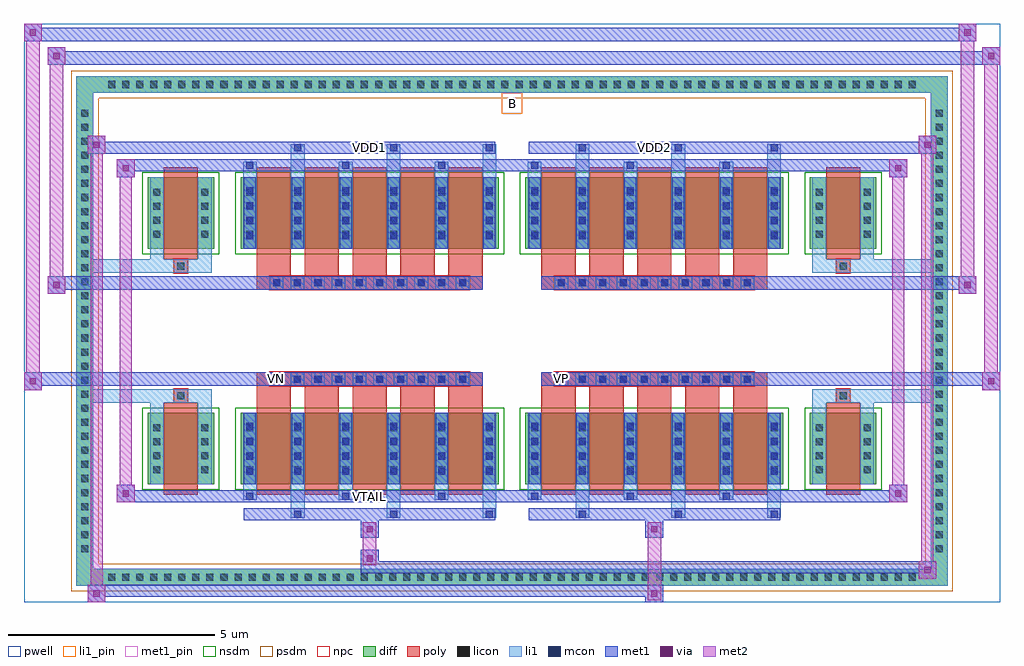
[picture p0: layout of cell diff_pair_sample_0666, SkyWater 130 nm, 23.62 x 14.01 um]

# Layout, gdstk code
import gdstk
lib = gdstk.Library(unit=1e-6, precision=5e-09)
def R(c, l, rs):  # rectangles x0, y0, x1, y1
    for r in rs: c.add(gdstk.rectangle(r[:2], r[2:], *l))
def A(c, l, x, y, w, h, nx, ny, dx, dy):  # array of equal rectangles
    R(c, l, [(x+i*dx, y+j*dy, x+i*dx+w, y+j*dy+h) for i in range(nx) for j in range(ny)])
def P(c, l, *ps):  # polygons
    for p in ps: c.add(gdstk.Polygon(p, *l))
pwell = (64, 44)
diff = (65, 20)
poly = (66, 20)
licon = (66, 44)
li1_pin = (67, 16)
li1 = (67, 20)
mcon = (67, 44)
met1_pin = (68, 16)
met1 = (68, 20)
via = (68, 44)
met2 = (69, 20)
nsdm = (93, 44)
psdm = (94, 20)
npc = (95, 20)

diff_pair_sample_0666 = lib.new_cell('diff_pair_sample_0666')
R(diff_pair_sample_0666, pwell, [(-11.81,-6.57,11.81,7.44), (-9.13,-4.76,-0.01,-0.8), (0.01,-4.76,9.13,-0.8), (-9.13,0.8,-0.01,4.76), (0.01,0.8,9.13,4.76)])
A(diff_pair_sample_0666, diff, -9.895, -6.17, 0.41, 0.41, 58, 2, 0.34, 11.93)
A(diff_pair_sample_0666, diff, -10.54, -5.475, 0.41, 0.41, 1, 32, 0, 0.34)
A(diff_pair_sample_0666, diff, 10.13, -5.475, 0.41, 0.41, 1, 32, 0, 0.34)
R(diff_pair_sample_0666, diff, [(-9.895,-6.17,9.895,-5.76), (-10.54,-5.475,-10.13,5.475), (10.13,-5.475,10.54,5.475), (-8.82,-3.715,-7.21,-1.985), (-6.57,-3.715,-0.32,-1.985), (0.32,-3.715,6.57,-1.985), (7.21,-3.715,8.82,-1.985), (-8.82,1.985,-7.21,3.715), (-6.57,1.985,-0.32,3.715), (0.32,1.985,6.57,3.715), (7.21,1.985,8.82,3.715), (-9.895,5.76,9.895,6.17)])
P(diff_pair_sample_0666, diff, [(10.54,6.17),(-10.54,6.17),(-10.54,-5.76),(-10.13,-5.76),(-10.13,5.76),(10.13,5.76),(10.13,-5.76),(-10.13,-5.76),(-10.54,-5.76),(-10.54,-6.17),(10.54,-6.17)])
A(diff_pair_sample_0666, poly, -6.18, -3.965, 0.83, 2.23, 5, 2, 1.16, 5.7)
A(diff_pair_sample_0666, poly, 0.71, -3.965, 0.83, 2.23, 5, 2, 1.16, 5.7)
A(diff_pair_sample_0666, poly, -6.18, -1.735, 0.83, 0.405, 5, 2, 1.16, 3.065)
A(diff_pair_sample_0666, poly, 0.71, -1.735, 0.83, 0.405, 5, 2, 1.16, 3.065)
A(diff_pair_sample_0666, poly, -5.86, -1.33, 0.33, 0.33, 10, 2, 0.5, 2.33)
A(diff_pair_sample_0666, poly, 1.03, -1.33, 0.33, 0.33, 10, 2, 0.5, 2.33)
R(diff_pair_sample_0666, poly, [(-8.43,-3.965,-7.6,-1.735), (7.6,-3.965,8.43,-1.735), (-8.18,-1.735,-7.85,-1.405), (-8.18,-1.735,-7.85,-1.405), (7.85,-1.735,8.18,-1.405), (7.85,-1.735,8.18,-1.405), (-6.18,-1.33,-0.71,-1), (0.71,-1.33,6.18,-1), (-6.18,1,-0.71,1.33), (0.71,1,6.18,1.33), (-8.18,1.405,-7.85,1.735), (-8.18,1.405,-7.85,1.735), (7.85,1.405,8.18,1.735), (7.85,1.405,8.18,1.735), (-8.43,1.735,-7.6,3.965), (7.6,1.735,8.43,3.965)])
A(diff_pair_sample_0666, licon, -9.775, -6.05, 0.17, 0.17, 58, 2, 0.34, 11.93)
A(diff_pair_sample_0666, licon, -10.42, -5.355, 0.17, 0.17, 1, 32, 0, 0.34)
A(diff_pair_sample_0666, licon, 10.25, -5.355, 0.17, 0.17, 1, 32, 0, 0.34)
A(diff_pair_sample_0666, licon, -8.68, -3.445, 0.17, 0.17, 1, 4, 0, 0.34)
A(diff_pair_sample_0666, licon, -7.52, -3.445, 0.17, 0.17, 1, 4, 0, 0.34)
A(diff_pair_sample_0666, licon, -6.43, -3.445, 0.17, 0.17, 6, 4, 1.16, 0.34)
A(diff_pair_sample_0666, licon, 0.46, -3.445, 0.17, 0.17, 6, 4, 1.16, 0.34)
A(diff_pair_sample_0666, licon, 7.35, -3.445, 0.17, 0.17, 1, 4, 0, 0.34)
A(diff_pair_sample_0666, licon, 8.51, -3.445, 0.17, 0.17, 1, 4, 0, 0.34)
A(diff_pair_sample_0666, licon, -5.78, -1.25, 0.17, 0.17, 10, 2, 0.5, 2.33)
A(diff_pair_sample_0666, licon, 1.11, -1.25, 0.17, 0.17, 10, 2, 0.5, 2.33)
A(diff_pair_sample_0666, licon, -8.68, 2.255, 0.17, 0.17, 1, 4, 0, 0.34)
A(diff_pair_sample_0666, licon, -7.52, 2.255, 0.17, 0.17, 1, 4, 0, 0.34)
A(diff_pair_sample_0666, licon, -6.43, 2.255, 0.17, 0.17, 6, 4, 1.16, 0.34)
A(diff_pair_sample_0666, licon, 0.46, 2.255, 0.17, 0.17, 6, 4, 1.16, 0.34)
A(diff_pair_sample_0666, licon, 7.35, 2.255, 0.17, 0.17, 1, 4, 0, 0.34)
A(diff_pair_sample_0666, licon, 8.51, 2.255, 0.17, 0.17, 1, 4, 0, 0.34)
R(diff_pair_sample_0666, licon, [(-8.1,-1.655,-7.93,-1.485), (7.93,-1.655,8.1,-1.485), (-8.1,1.485,-7.93,1.655), (7.93,1.485,8.1,1.655)])
R(diff_pair_sample_0666, li1_pin, [(-0.25,5.26,0.25,5.76)])
A(diff_pair_sample_0666, li1, -9.855, -6.13, 0.33, 0.33, 58, 2, 0.34, 11.93)
A(diff_pair_sample_0666, li1, -10.5, -5.435, 0.33, 0.33, 1, 32, 0, 0.34)
A(diff_pair_sample_0666, li1, 10.17, -5.435, 0.33, 0.33, 1, 32, 0, 0.34)
A(diff_pair_sample_0666, li1, -5.35, -4.52, 0.33, 0.805, 3, 2, 2.32, 8.235)
A(diff_pair_sample_0666, li1, -5.27, -4.52, 0.17, 0.17, 3, 2, 2.32, 8.87)
A(diff_pair_sample_0666, li1, 1.54, -4.52, 0.33, 0.805, 3, 2, 2.32, 8.235)
A(diff_pair_sample_0666, li1, 1.62, -4.52, 0.17, 0.17, 3, 2, 2.32, 8.87)
A(diff_pair_sample_0666, li1, -6.51, -4.09, 0.33, 0.375, 3, 2, 2.32, 7.805)
A(diff_pair_sample_0666, li1, -6.43, -4.09, 0.17, 0.17, 3, 2, 2.32, 8.01)
A(diff_pair_sample_0666, li1, 0.38, -4.09, 0.33, 0.375, 3, 2, 2.32, 7.805)
A(diff_pair_sample_0666, li1, 0.46, -4.09, 0.17, 0.17, 3, 2, 2.32, 8.01)
A(diff_pair_sample_0666, li1, -6.51, -3.715, 0.33, 1.73, 6, 2, 1.16, 5.7)
A(diff_pair_sample_0666, li1, 0.38, -3.715, 0.33, 1.73, 6, 2, 1.16, 5.7)
A(diff_pair_sample_0666, li1, -8.76, -3.525, 0.33, 0.33, 1, 4, 0, 0.34)
A(diff_pair_sample_0666, li1, -7.6, -3.525, 0.33, 0.33, 1, 4, 0, 0.34)
A(diff_pair_sample_0666, li1, -6.51, -3.525, 0.33, 0.33, 6, 4, 1.16, 0.34)
A(diff_pair_sample_0666, li1, 0.38, -3.525, 0.33, 0.33, 6, 4, 1.16, 0.34)
A(diff_pair_sample_0666, li1, 7.27, -3.525, 0.33, 0.33, 1, 4, 0, 0.34)
A(diff_pair_sample_0666, li1, 8.43, -3.525, 0.33, 0.33, 1, 4, 0, 0.34)
A(diff_pair_sample_0666, li1, -6.43, -3.475, 0.17, 0.17, 6, 4, 1.16, 0.36)
A(diff_pair_sample_0666, li1, -6.43, -3.475, 0.17, 1.25, 6, 2, 1.16, 5.7)
A(diff_pair_sample_0666, li1, 0.46, -3.475, 0.17, 0.17, 6, 4, 1.16, 0.36)
A(diff_pair_sample_0666, li1, 0.46, -3.475, 0.17, 1.25, 6, 2, 1.16, 5.7)
A(diff_pair_sample_0666, li1, -5.86, -1.33, 0.33, 0.33, 10, 2, 0.5, 2.33)
A(diff_pair_sample_0666, li1, 1.03, -1.33, 0.33, 0.33, 10, 2, 0.5, 2.33)
A(diff_pair_sample_0666, li1, -8.76, 2.175, 0.33, 0.33, 1, 4, 0, 0.34)
A(diff_pair_sample_0666, li1, -7.6, 2.175, 0.33, 0.33, 1, 4, 0, 0.34)
A(diff_pair_sample_0666, li1, -6.51, 2.175, 0.33, 0.33, 6, 4, 1.16, 0.34)
A(diff_pair_sample_0666, li1, 0.38, 2.175, 0.33, 0.33, 6, 4, 1.16, 0.34)
A(diff_pair_sample_0666, li1, 7.27, 2.175, 0.33, 0.33, 1, 4, 0, 0.34)
A(diff_pair_sample_0666, li1, 8.43, 2.175, 0.33, 0.33, 1, 4, 0, 0.34)
A(diff_pair_sample_0666, li1, -6.43, 2.225, 0.17, 0.17, 6, 4, 1.16, 0.36)
A(diff_pair_sample_0666, li1, 0.46, 2.225, 0.17, 0.17, 6, 4, 1.16, 0.36)
R(diff_pair_sample_0666, li1, [(-10.54,-6.17,-10.13,-5.76), (-10.54,-6.17,-10.13,-5.76), (-10.13,-6.17,10.13,-5.76), (10.13,-6.17,10.54,-5.76), (10.13,-6.17,10.54,-5.76), (-10.54,-5.76,-10.13,5.76), (10.13,-5.76,10.54,5.76), (-8.76,-3.715,-8.43,-1.985), (-7.6,-3.715,-7.27,-1.985), (7.27,-3.715,7.6,-1.985), (8.43,-3.715,8.76,-1.985), (-8.76,-1.985,-8.43,-1.405), (-7.6,-1.985,-7.27,-1.405), (7.27,-1.985,7.6,-1.405), (8.43,-1.985,8.76,-1.405), (-10.54,-1.735,-8.18,-1.405), (-8.76,-1.735,-8.18,-1.405), (-8.18,-1.735,-7.85,-1.405), (-7.85,-1.735,-7.27,-1.405), (7.27,-1.735,7.85,-1.405), (7.85,-1.735,8.18,-1.405), (7.85,-1.735,10.54,-1.405), (8.18,-1.735,8.76,-1.405), (-10.54,1.405,-8.18,1.735), (-8.76,1.405,-8.18,1.735), (-8.76,1.405,-8.43,1.985), (-8.18,1.405,-7.85,1.735), (-7.85,1.405,-7.27,1.735), (-7.6,1.405,-7.27,1.985), (7.27,1.405,7.85,1.735), (7.27,1.405,7.6,1.985), (7.85,1.405,8.18,1.735), (7.85,1.405,10.54,1.735), (8.18,1.405,8.76,1.735), (8.43,1.405,8.76,1.985), (-8.76,1.985,-8.43,3.715), (-7.6,1.985,-7.27,3.715), (7.27,1.985,7.6,3.715), (8.43,1.985,8.76,3.715), (-10.54,5.76,-10.13,6.17), (-10.54,5.76,-10.13,6.17), (-10.13,5.76,10.13,6.17), (10.13,5.76,10.54,6.17), (10.13,5.76,10.54,6.17)])
A(diff_pair_sample_0666, mcon, -5.27, -4.52, 0.17, 0.17, 3, 2, 2.32, 8.87)
A(diff_pair_sample_0666, mcon, 1.62, -4.52, 0.17, 0.17, 3, 2, 2.32, 8.87)
A(diff_pair_sample_0666, mcon, -6.43, -4.09, 0.17, 0.17, 3, 2, 2.32, 8.01)
A(diff_pair_sample_0666, mcon, 0.46, -4.09, 0.17, 0.17, 3, 2, 2.32, 8.01)
A(diff_pair_sample_0666, mcon, -6.43, -3.475, 0.17, 0.17, 6, 4, 1.16, 0.36)
A(diff_pair_sample_0666, mcon, 0.46, -3.475, 0.17, 0.17, 6, 4, 1.16, 0.36)
A(diff_pair_sample_0666, mcon, -5.78, -1.25, 0.17, 0.17, 10, 2, 0.5, 2.33)
A(diff_pair_sample_0666, mcon, 1.11, -1.25, 0.17, 0.17, 10, 2, 0.5, 2.33)
A(diff_pair_sample_0666, mcon, -6.43, 2.225, 0.17, 0.17, 6, 4, 1.16, 0.36)
A(diff_pair_sample_0666, mcon, 0.46, 2.225, 0.17, 0.17, 6, 4, 1.16, 0.36)
R(diff_pair_sample_0666, met1_pin, [(-3.58,-4.13,-3.31,-3.86), (-5.83,-1.29,-5.56,-1.02), (1.06,-1.29,1.33,-1.02), (-3.58,4.31,-3.31,4.58), (3.31,4.31,3.58,4.58)])
A(diff_pair_sample_0666, met1, -5.33, -4.58, 0.29, 0.29, 3, 2, 2.32, 8.87)
A(diff_pair_sample_0666, met1, 1.56, -4.58, 0.29, 0.29, 3, 2, 2.32, 8.87)
A(diff_pair_sample_0666, met1, -6.49, -4.15, 0.29, 0.29, 3, 2, 2.32, 8.01)
A(diff_pair_sample_0666, met1, 0.4, -4.15, 0.29, 0.29, 3, 2, 2.32, 8.01)
A(diff_pair_sample_0666, met1, -6.49, -3.715, 0.29, 1.73, 6, 2, 1.16, 5.7)
A(diff_pair_sample_0666, met1, 0.4, -3.715, 0.29, 1.73, 6, 2, 1.16, 5.7)
A(diff_pair_sample_0666, met1, -6.49, -3.535, 0.29, 0.29, 6, 4, 1.16, 0.36)
A(diff_pair_sample_0666, met1, 0.4, -3.535, 0.29, 0.29, 6, 4, 1.16, 0.36)
A(diff_pair_sample_0666, met1, -5.84, -1.31, 0.29, 0.29, 10, 2, 0.5, 2.33)
A(diff_pair_sample_0666, met1, 1.05, -1.31, 0.29, 0.29, 10, 2, 0.5, 2.33)
A(diff_pair_sample_0666, met1, -6.49, 2.165, 0.29, 0.29, 6, 4, 1.16, 0.36)
A(diff_pair_sample_0666, met1, 0.4, 2.165, 0.29, 0.29, 6, 4, 1.16, 0.36)
R(diff_pair_sample_0666, met1, [(-10.27,-6.57,-9.84,-6.14), (3.23,-6.57,3.66,-6.14), (-10.27,-6.43,3.66,-6.14), (9.84,-6,10.27,-5.57), (-3.66,-5.86,10.27,-5.57), (-3.66,-5.72,-3.23,-5.29), (-3.66,-5.01,-3.23,-4.58), (3.23,-5.01,3.66,-4.58), (-6.49,-4.58,-0.4,-4.29), (0.4,-4.58,6.49,-4.29), (-9.56,-4.15,-9.13,-3.72), (-9.56,-4.15,-6.49,-3.86), (-6.49,-4.15,-0.4,-3.86), (-0.4,-4.15,0.4,-3.86), (0.4,-4.15,6.49,-3.86), (6.49,-4.15,9.56,-3.86), (9.13,-4.15,9.56,-3.72), (-11.81,-1.43,-11.38,-1), (11.38,-1.43,11.81,-1), (-11.81,-1.33,-0.71,-1), (-6.18,-1.33,-0.71,-1), (0.71,-1.33,6.18,-1), (0.71,-1.33,11.81,-1), (-11.24,0.9,-10.81,1.33), (10.81,0.9,11.24,1.33), (-11.24,1,-6.18,1.33), (-6.18,1,-0.71,1.33), (0.71,1,6.18,1.33), (6.18,1,11.24,1.33), (-9.56,3.72,-9.13,4.15), (9.13,3.72,9.56,4.15), (-9.56,3.86,-6.49,4.15), (-6.49,3.86,-0.4,4.15), (-0.4,3.86,0.4,4.15), (0.4,3.86,6.49,4.15), (6.49,3.86,9.56,4.15), (-10.27,4.29,-9.84,4.72), (-10.27,4.29,-6.49,4.58), (-6.49,4.29,-0.4,4.58), (0.4,4.29,6.49,4.58), (6.49,4.29,10.27,4.58), (9.84,4.29,10.27,4.72), (-11.24,6.44,-10.81,6.87), (-11.24,6.44,-9.13,6.77), (-9.13,6.44,9.13,6.77), (9.13,6.44,11.81,6.77), (11.38,6.44,11.81,6.87), (-11.81,7.01,-11.38,7.44), (-11.81,7.01,-9.13,7.34), (-9.13,7.01,9.13,7.34), (9.13,7.01,11.24,7.34), (10.81,7.01,11.24,7.44)])
R(diff_pair_sample_0666, via, [(-10.13,-6.43,-9.98,-6.28), (3.37,-6.43,3.52,-6.28), (9.98,-5.86,10.13,-5.71), (-3.52,-5.58,-3.37,-5.43), (-3.52,-4.87,-3.37,-4.72), (3.37,-4.87,3.52,-4.72), (-9.42,-4.01,-9.27,-3.86), (9.27,-4.01,9.42,-3.86), (-11.67,-1.29,-11.52,-1.14), (11.52,-1.29,11.67,-1.14), (-11.1,1.04,-10.95,1.19), (10.95,1.04,11.1,1.19), (-9.42,3.86,-9.27,4.01), (9.27,3.86,9.42,4.01), (-10.13,4.43,-9.98,4.58), (9.98,4.43,10.13,4.58), (-11.1,6.58,-10.95,6.73), (11.52,6.58,11.67,6.73), (-11.67,7.15,-11.52,7.3), (10.95,7.15,11.1,7.3)])
R(diff_pair_sample_0666, met2, [(-10.27,-6.57,-9.84,-6.14), (-10.2,-6.57,-9.91,4.72), (-9.91,-6.57,-9.84,-6.14), (-10.22,-6.52,-9.89,-6.19), (3.28,-6.52,3.61,-6.19), (3.28,-6.19,3.61,-4.96), (9.84,-6,10.27,-5.57), (9.91,-6,10.2,4.72), (10.2,-6,10.27,-5.57), (9.89,-5.95,10.22,-5.62), (-3.61,-5.67,-3.28,-5.34), (-3.61,-5.34,-3.28,-4.96), (-3.61,-4.96,-3.28,-4.63), (3.28,-4.96,3.61,-4.63), (-9.56,-4.15,-9.13,-3.72), (-9.49,-4.15,-9.2,4.15), (-9.2,-4.15,-9.13,-3.72), (9.13,-4.15,9.56,-3.72), (9.2,-4.15,9.49,4.15), (9.49,-4.15,9.56,-3.72), (-9.51,-4.1,-9.18,-3.77), (9.18,-4.1,9.51,-3.77), (-11.81,-1.43,-11.38,-1), (-11.76,-1.43,-11.43,7.44), (-11.43,-1.43,-11.38,-1), (11.38,-1.43,11.81,-1), (11.43,-1.43,11.76,6.87), (11.76,-1.43,11.81,-1), (-11.76,-1.38,-11.43,-1.05), (11.43,-1.38,11.76,-1.05), (-11.24,0.9,-10.81,1.33), (-11.19,0.9,-10.86,6.87), (-10.86,0.9,-10.81,1.33), (10.81,0.9,11.24,1.33), (10.86,0.9,11.19,7.44), (11.19,0.9,11.24,1.33), (-11.19,0.95,-10.86,1.28), (10.86,0.95,11.19,1.28), (-9.56,3.72,-9.13,4.15), (-9.2,3.72,-9.13,4.15), (9.13,3.72,9.56,4.15), (9.49,3.72,9.56,4.15), (-9.51,3.77,-9.18,4.1), (9.18,3.77,9.51,4.1), (-10.27,4.29,-9.84,4.72), (-9.91,4.29,-9.84,4.72), (9.84,4.29,10.27,4.72), (10.2,4.29,10.27,4.72), (-10.22,4.34,-9.89,4.67), (9.89,4.34,10.22,4.67), (-11.24,6.44,-10.81,6.87), (-10.86,6.44,-10.81,6.87), (11.38,6.44,11.81,6.87), (11.76,6.44,11.81,6.87), (-11.19,6.49,-10.86,6.82), (11.43,6.49,11.76,6.82), (-11.81,7.01,-11.38,7.44), (-11.43,7.01,-11.38,7.44), (10.81,7.01,11.24,7.44), (11.19,7.01,11.24,7.44), (-11.76,7.06,-11.43,7.39), (10.86,7.06,11.19,7.39)])
R(diff_pair_sample_0666, nsdm, [(-8.95,-3.845,-7.08,-1.855), (-6.7,-3.845,-0.19,-1.855), (0.19,-3.845,6.7,-1.855), (7.08,-3.845,8.95,-1.855), (-8.95,1.855,-7.08,3.845), (-6.7,1.855,-0.19,3.845), (0.19,1.855,6.7,3.845), (7.08,1.855,8.95,3.845)])
P(diff_pair_sample_0666, psdm, [(10.67,6.3),(-10.67,6.3),(-10.67,-5.63),(-10,-5.63),(-10,5.63),(10,5.63),(10,-5.63),(-10,-5.63),(-10.67,-5.63),(-10.67,-6.3),(10.67,-6.3)])
A(diff_pair_sample_0666, npc, -5.88, -1.35, 0.37, 0.37, 10, 2, 0.5, 2.33)
A(diff_pair_sample_0666, npc, 1.01, -1.35, 0.37, 0.37, 10, 2, 0.5, 2.33)
R(diff_pair_sample_0666, npc, [(-8.2,-1.755,-7.83,-1.385), (7.83,-1.755,8.2,-1.385), (-5.88,-1.35,-5.01,-0.98), (-5.88,-1.35,-5.01,-0.98), (-5.38,-1.35,-4.51,-0.98), (-5.38,-1.35,-4.51,-0.98), (-4.88,-1.35,-4.01,-0.98), (-4.88,-1.35,-4.01,-0.98), (-4.38,-1.35,-3.51,-0.98), (-4.38,-1.35,-3.51,-0.98), (-3.88,-1.35,-3.01,-0.98), (-3.88,-1.35,-3.01,-0.98), (-3.38,-1.35,-2.51,-0.98), (-3.38,-1.35,-2.51,-0.98), (-2.88,-1.35,-2.01,-0.98), (-2.88,-1.35,-2.01,-0.98), (-2.38,-1.35,-1.51,-0.98), (-2.38,-1.35,-1.51,-0.98), (-1.88,-1.35,-1.01,-0.98), (-1.88,-1.35,-1.01,-0.98), (1.01,-1.35,1.88,-0.98), (1.01,-1.35,1.88,-0.98), (1.51,-1.35,2.38,-0.98), (1.51,-1.35,2.38,-0.98), (2.01,-1.35,2.88,-0.98), (2.01,-1.35,2.88,-0.98), (2.51,-1.35,3.38,-0.98), (2.51,-1.35,3.38,-0.98), (3.01,-1.35,3.88,-0.98), (3.01,-1.35,3.88,-0.98), (3.51,-1.35,4.38,-0.98), (3.51,-1.35,4.38,-0.98), (4.01,-1.35,4.88,-0.98), (4.01,-1.35,4.88,-0.98), (4.51,-1.35,5.38,-0.98), (4.51,-1.35,5.38,-0.98), (5.01,-1.35,5.88,-0.98), (5.01,-1.35,5.88,-0.98), (-5.88,0.98,-5.01,1.35), (-5.88,0.98,-5.01,1.35), (-5.38,0.98,-4.51,1.35), (-5.38,0.98,-4.51,1.35), (-4.88,0.98,-4.01,1.35), (-4.88,0.98,-4.01,1.35), (-4.38,0.98,-3.51,1.35), (-4.38,0.98,-3.51,1.35), (-3.88,0.98,-3.01,1.35), (-3.88,0.98,-3.01,1.35), (-3.38,0.98,-2.51,1.35), (-3.38,0.98,-2.51,1.35), (-2.88,0.98,-2.01,1.35), (-2.88,0.98,-2.01,1.35), (-2.38,0.98,-1.51,1.35), (-2.38,0.98,-1.51,1.35), (-1.88,0.98,-1.01,1.35), (-1.88,0.98,-1.01,1.35), (1.01,0.98,1.88,1.35), (1.01,0.98,1.88,1.35), (1.51,0.98,2.38,1.35), (1.51,0.98,2.38,1.35), (2.01,0.98,2.88,1.35), (2.01,0.98,2.88,1.35), (2.51,0.98,3.38,1.35), (2.51,0.98,3.38,1.35), (3.01,0.98,3.88,1.35), (3.01,0.98,3.88,1.35), (3.51,0.98,4.38,1.35), (3.51,0.98,4.38,1.35), (4.01,0.98,4.88,1.35), (4.01,0.98,4.88,1.35), (4.51,0.98,5.38,1.35), (4.51,0.98,5.38,1.35), (5.01,0.98,5.88,1.35), (5.01,0.98,5.88,1.35), (-8.2,1.385,-7.83,1.755), (7.83,1.385,8.2,1.755)])
diff_pair_sample_0666.add(gdstk.Label('VTAIL', (-3.445,-3.995), layer=68, texttype=5))
diff_pair_sample_0666.add(gdstk.Label('VN', (-5.695,-1.155), layer=68, texttype=5))
diff_pair_sample_0666.add(gdstk.Label('VP', (1.195,-1.155), layer=68, texttype=5))
diff_pair_sample_0666.add(gdstk.Label('B', (0,5.51), layer=67, texttype=5))
diff_pair_sample_0666.add(gdstk.Label('VDD2', (3.445,4.445), layer=68, texttype=5))
diff_pair_sample_0666.add(gdstk.Label('VDD1', (-3.445,4.445), layer=68, texttype=5))

lib.write_gds('diff_pair_sample_0666.gds')
